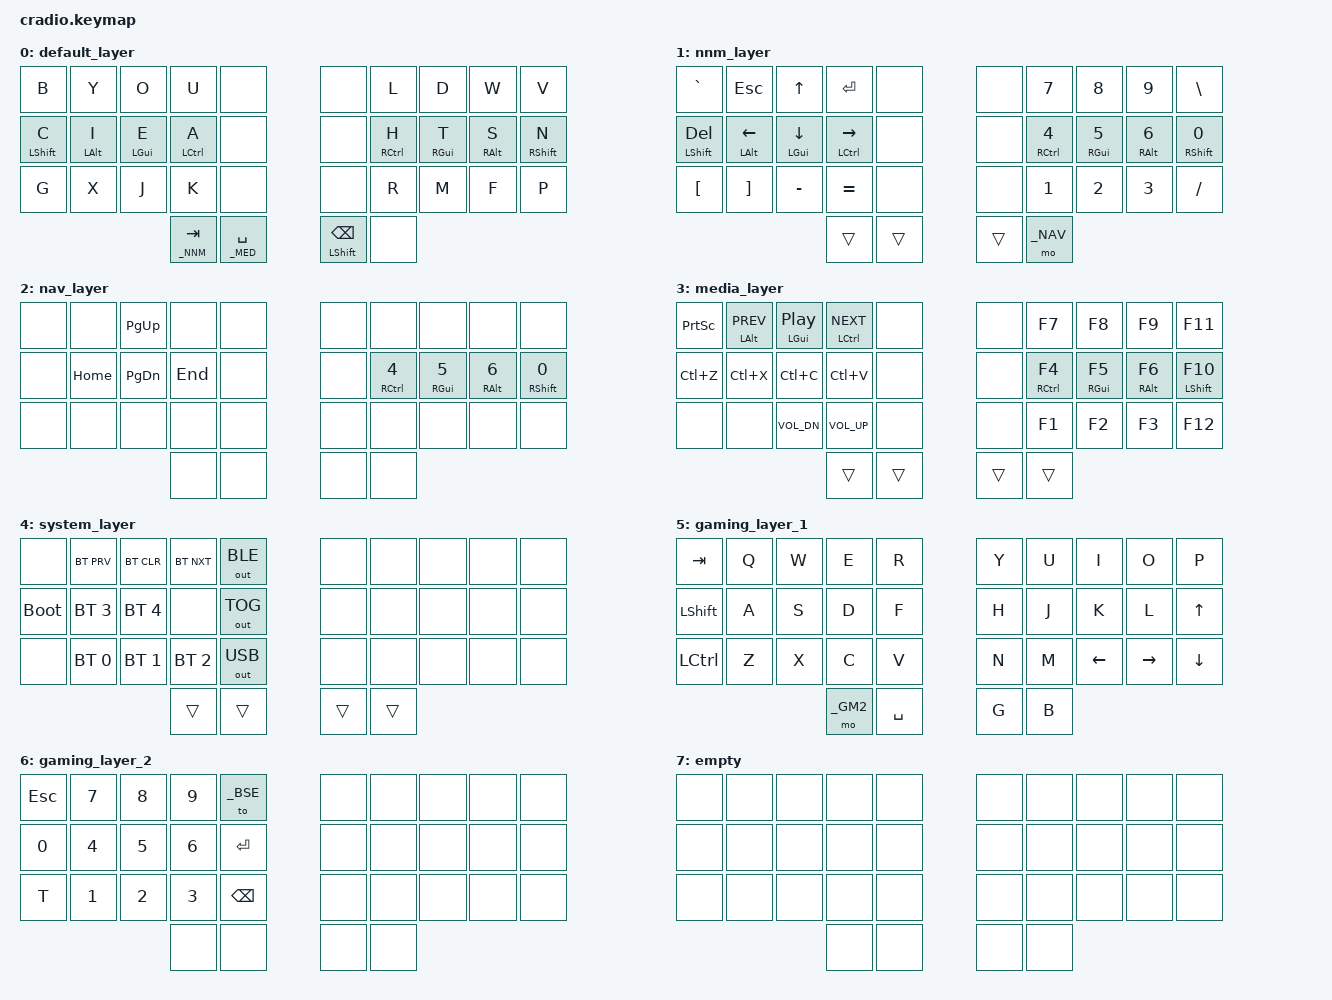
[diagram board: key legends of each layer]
/*
 * Copyright (c) 2020 The ZMK Contributors
 *
 * SPDX-License-Identifier: MIT
 */

#include <behaviors.dtsi>
#include <dt-bindings/zmk/bt.h>
#include <dt-bindings/zmk/keys.h>
#include <dt-bindings/zmk/outputs.h>

// LAYERS
#define _BSE 0
#define _NNM 1
#define _NAV 2
#define _MED 3
#define _SYS 4
#define _GM1 5
#define _GM2 6

&mt {
  flavor = "tap-preferred";
  tapping-term-ms = <200>;
  quick-tap-ms = <200>;
};

&lt {
  flavor = "tap-preferred";
  tapping-term-ms = <200>;
  quick-tap-ms = <200>;
};

&sl {
    release-after-ms = <1000>;
};

&sk {
    release-after-ms = <500>;
    quick-release;
};

/ {
  behaviors {
    hmt: hold_preferred_mod_tap {
      compatible = "zmk,behavior-hold-tap";
      #binding-cells = <2>;
      tapping-term-ms = <200>;
      quick-tap-ms = <0>;
      flavor = "hold-preferred";
      bindings = <&kp>, <&kp>;
    };
    hlt: hold_preferred_layer_tap {
      compatible = "zmk,behavior-hold-tap";
      #binding-cells = <2>;
      tapping-term-ms = <200>;
      quick-tap-ms = <0>;
      flavor = "hold-preferred";
      bindings = <&mo>, <&kp>;
    };
  };
  macros {
    #include "macros.dtsi"
  };

  combos {
    compatible = "zmk,combos";
    combo_system {
      timeout-ms = <100>;
      key-positions = <0 20>;
      bindings = <&tog _SYS>;
      layers = <0 _SYS>;
    };
    combo_boot {
      timeout-ms = <100>;
      key-positions = <0 4>;
      bindings = <&bootloader>;
      layers = <0>;
    };
    combo_media {
      timeout-ms = <100>;
      key-positions = <30 31>;
      bindings = <&mo _MED>;
      layers = <0>;
    };
    combo_z {
      timeout-ms = <100>;
      key-positions = <8 9>;
      bindings = <&kp Z>;
      layers = <0>;
    };
    combo_q {
      timeout-ms = <100>;
      key-positions = <28 29>;
      bindings = <&kp Q>;
      layers = <0>;
    };
    combo_qmark {
      timeout-ms = <100>;
      key-positions = <20 23>;
      bindings = <&kp QMARK>;
      layers = <0>;
    };
    combo_quot {
      timeout-ms = <100>;
      key-positions = <21 23>;
      bindings = <&kp QUOT>;
      layers = <0>;
    };
    combo_comma {
      timeout-ms = <100>;
      key-positions = <21 22>;
      bindings = <&kp COMMA>;
      layers = <0>;
    };
    combo_dot {
      timeout-ms = <100>;
      key-positions = <22 23>;
      bindings = <&kp DOT>;
      layers = <0>;
    };
    #include "combos.dtsi"
  };

  keymap {
    compatible = "zmk,keymap";

    default_layer {
      bindings = <
        &kp B            &kp Y            &kp O            &kp U            &none                 &none            &kp L            &kp D            &kp W            &kp V
        &mt LSHIFT C     &mt LALT I       &mt LGUI E       &mt LCTRL A      &none                 &none            &mt RCTRL H      &mt RGUI T       &mt RALT S       &mt RSHIFT N
        &kp G            &kp X            &kp J            &kp K            &none                 &none            &kp R            &kp M            &kp F            &kp P
                                                           &hlt _NNM TAB    &lt _MED SPC          &hmt LSHIFT BSPC &none
      >;
    };

    nnm_layer {
      bindings = <
        &kp GRAVE        &kp ESC          &kp UP           &kp ENTER        &none                 &none            &kp N7           &kp N8           &kp N9           &kp BSLH
        &mt LSHIFT DEL   &mt LALT LEFT    &mt LGUI DOWN    &mt LCTRL RIGHT  &none                 &none            &mt RCTRL N4     &mt RGUI N5      &mt RALT N6      &mt RSHIFT N0
        &kp LBKT         &kp RBKT         &kp MINUS        &kp EQUAL        &none                 &none            &kp N1           &kp N2           &kp N3           &kp FSLH
                                                           &trans           &trans                &trans           &mo _NAV
      >;
    };
   nav_layer {
      bindings = <
        &none           &none            &kp PG_UP         &none            &none                 &none            &none            &none            &none            &none
        &none           &kp HOME         &kp PG_DN         &kp END          &none                 &none            &mt RCTRL N4     &mt RGUI N5      &mt RALT N6      &mt RSHIFT N0
        &none           &none            &none             &none            &none                 &none            &none            &none            &none            &none
                                                           &none            &none                 &none            &none
      >;
    };
    media_layer {
      bindings = <
        &kp PSCRN        &mt LALT C_PREV  &mt LGUI C_PP    &mt LCTRL C_NEXT &none                 &none            &kp F7           &kp F8           &kp F9           &kp F11
        &kp LC(Z)        &kp LC(X)        &kp LC(C)        &kp LC(V)        &none                 &none            &mt RCTRL F4     &mt RGUI F5      &mt RALT F6      &mt LSHIFT F10
        &none            &none            &kp C_VOL_DN     &kp C_VOL_UP     &none                 &none            &kp F1           &kp F2           &kp F3           &kp F12
                                                           &trans           &trans                &trans           &trans
      >;
    };

    system_layer {
      bindings = <
        &none            &bt BT_PRV       &bt BT_CLR       &bt BT_NXT       &out OUT_BLE          &none            &none            &none            &none            &none
        &bootloader      &bt BT_SEL 3     &bt BT_SEL 4     &none            &out OUT_TOG          &none            &none            &none            &none            &none
        &none            &bt BT_SEL 0     &bt BT_SEL 1     &bt BT_SEL 2     &out OUT_USB          &none            &none            &none            &none            &none
                                                           &trans           &trans                &trans           &trans
      >;
    };

    gaming_layer_1 {
      bindings = <
        &kp TAB         &kp Q            &kp W             &kp E            &kp R                 &kp Y            &kp U            &kp I            &kp O            &kp P
        &kp LSHIFT      &kp A            &kp S             &kp D            &kp F                 &kp H            &kp J            &kp K            &kp L            &kp UP
        &kp LCTRL       &kp Z            &kp X             &kp C            &kp V                 &kp N            &kp M            &kp LEFT         &kp RIGHT        &kp DOWN
                                                           &mo _GM2         &kp SPC               &kp G            &kp B
      >;
    };
    
    gaming_layer_2 {
      bindings = <
        &kp ESC         &kp N7           &kp N8            &kp N9           &to _BSE              &none            &none            &none            &none            &none
        &kp N0          &kp N4           &kp N5            &kp N6           &kp RET               &none            &none            &none            &none            &none
        &kp T           &kp N1           &kp N2            &kp N3           &kp BSPC              &none            &none            &none            &none            &none
                                                           &none            &none                 &none            &none
      >;
    };

    empty {
      bindings = <
        &none           &none            &none             &none            &none                 &none            &none            &none            &none            &none
        &none           &none            &none             &none            &none                 &none            &none            &none            &none            &none
        &none           &none            &none             &none            &none                 &none            &none            &none            &none            &none
                                                           &none            &none                 &none            &none
      >;
    };
  };
};
